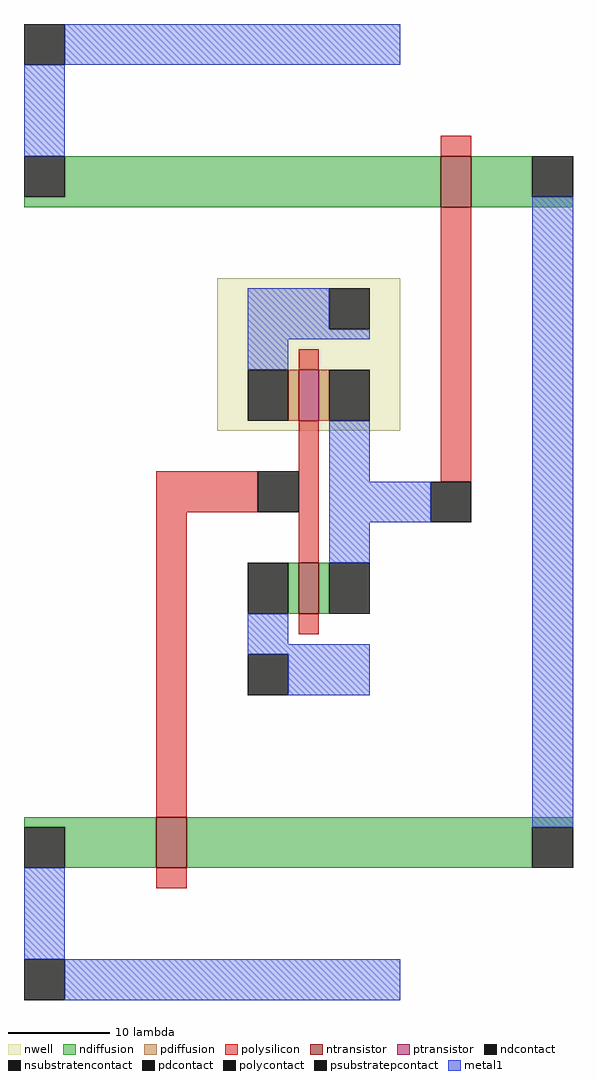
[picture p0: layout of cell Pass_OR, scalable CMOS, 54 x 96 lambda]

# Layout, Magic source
magic
tech scmos
<< nwell >>
rect 6 42 24 57
<< polysilicon >>
rect 28 69 31 71
rect 14 48 16 50
rect 0 34 10 38
rect 0 4 3 34
rect 14 29 16 43
rect 28 37 31 64
rect 14 22 16 24
rect 0 -3 3 -1
<< ndiffusion >>
rect -9 65 28 69
rect -13 64 28 65
rect 31 65 37 69
rect 31 64 41 65
rect 13 24 14 29
rect 16 24 17 29
rect -13 3 0 4
rect -9 -1 0 3
rect 3 3 41 4
rect 3 -1 37 3
<< pdiffusion >>
rect 13 43 14 48
rect 16 43 17 48
<< metal1 >>
rect -9 78 24 82
rect -13 69 -9 78
rect 9 52 17 56
rect 9 51 21 52
rect 9 48 13 51
rect 17 37 21 43
rect 17 33 27 37
rect 17 29 21 33
rect 9 21 13 24
rect 9 20 21 21
rect 13 16 21 20
rect 37 3 41 65
rect -13 -10 -9 -1
rect -9 -14 24 -10
<< ntransistor >>
rect 28 64 31 69
rect 14 24 16 29
rect 0 -1 3 4
<< ptransistor >>
rect 14 43 16 48
<< polycontact >>
rect 10 34 14 38
rect 27 33 31 37
<< ndcontact >>
rect -13 65 -9 69
rect 37 65 41 69
rect 9 24 13 29
rect 17 24 21 29
rect -13 -1 -9 3
rect 37 -1 41 3
<< pdcontact >>
rect 9 43 13 48
rect 17 43 21 48
<< psubstratepcontact >>
rect -13 78 -9 82
rect 9 16 13 20
rect -13 -14 -9 -10
<< nsubstratencontact >>
rect 17 52 21 56
<< end >>
